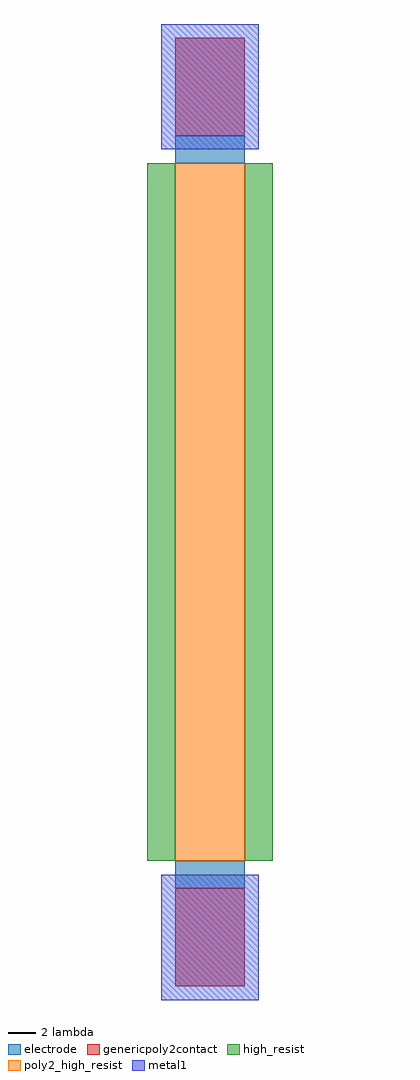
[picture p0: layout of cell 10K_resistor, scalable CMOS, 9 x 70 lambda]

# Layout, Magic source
magic
tech scmos
<< electrode >>
rect 189 254 194 256
rect 189 202 194 204
<< genericpoly2contact >>
rect 189 256 194 263
rect 189 195 194 202
<< metal1 >>
rect 188 255 195 264
rect 188 194 195 203
<< high_resist >>
rect 187 204 189 254
rect 194 204 196 254
<< poly2_high_resist >>
rect 189 204 194 254
<< end >>
